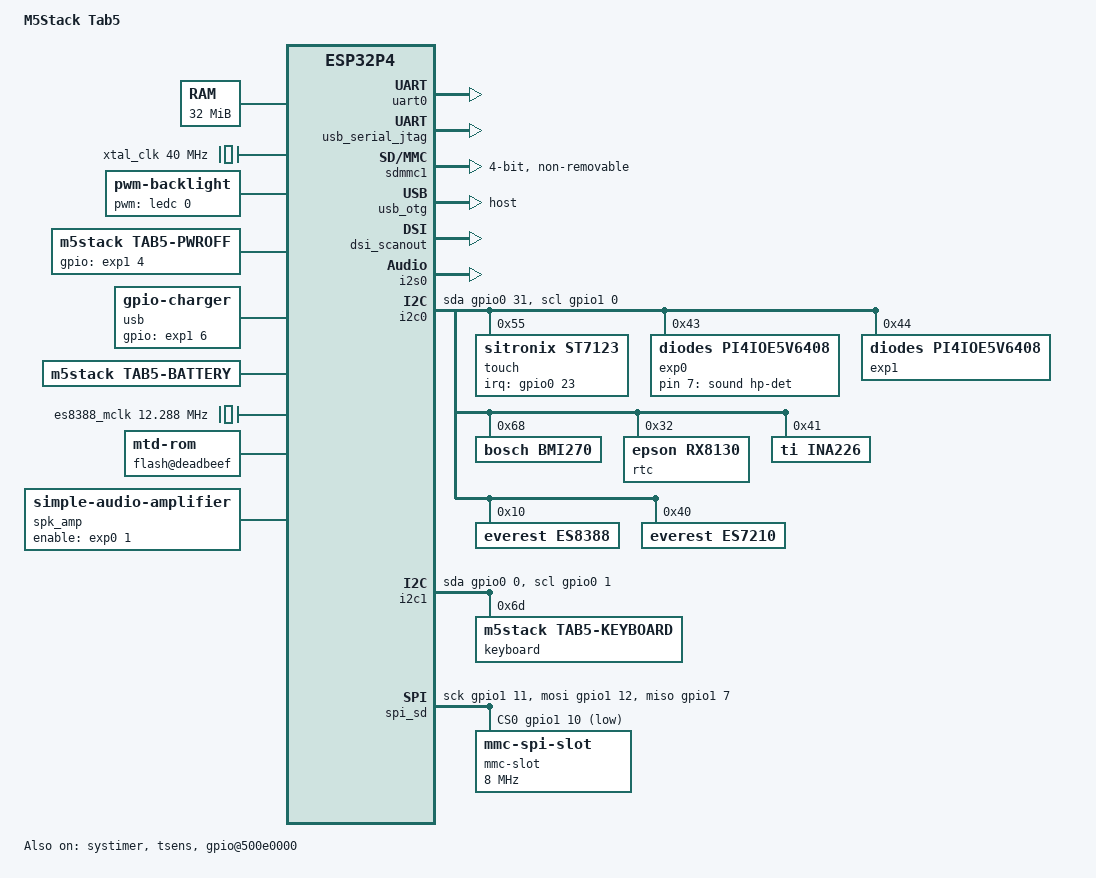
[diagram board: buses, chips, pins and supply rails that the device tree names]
// SPDX-License-Identifier: GPL-2.0-only
/*
 * M5Stack Tab5 — WIP Linux board description (phase-1 port of the Stamp-P4
 * project; see board-contract.json for the measured hardware facts).
 *
 * One HP hart, UART0 fallback, the P4 CLIC/SYSTIMER pair, the read-only
 * flash window populated by the ESP-IDF boot shim, and the SDMMC Slot 1
 * carrying the on-board ESP32-C6 over the GPIO matrix
 * (CLK=12 CMD=13 D0-3={11,10,9,8}; C6 reset = GPIO15; C6 power =
 * IO-expander 0x44 P0, driven by the boot shim).
 *
 * UART0 remains the deterministic fixture fallback (M5-Bus TXD0/RXD0 =
 * GPIO37/38).  The module USB-C USB-Serial/JTAG controller is exposed as
 * ttyGS1 by the board-local ACM driver; it is a device-mode console and
 * never a USB host/VBUS source.
 */
/dts-v1/;

#include <dt-bindings/interrupt-controller/irq.h>
#include <dt-bindings/gpio/gpio.h>

/ {
	#address-cells = <1>;
	#size-cells = <1>;
	model = "M5Stack Tab5";
	compatible = "m5stack,tab5", "espressif,esp32p4";

	cpus {
		#address-cells = <1>;
		#size-cells = <0>;
		timebase-frequency = <16000000>;

		CPU0: cpu@0 {
			device_type = "cpu";
			compatible = "riscv";
			reg = <0>;
			riscv,isa = "rv32imafc";
			mmu-type = "riscv,none";
			status = "okay";

			CPU0_intc: interrupt-controller {
				compatible = "riscv,cpu-intc";
				#interrupt-cells = <1>;
				interrupt-controller;
			};
		};
	};

	memory@48000000 {
		device_type = "memory";
		reg = <0x48000000 0x02000000>;
	};

	xtal_clk: xtal-clock {
		compatible = "fixed-clock";
		#clock-cells = <0>;
		clock-frequency = <40000000>;
		clock-output-names = "xtal";
	};

	aliases {
		serial0 = &uart0;
		serial1 = &usb_serial_jtag;
	};

	chosen {
		/*
		 * Keep early USB-JTAG output during probe, then hand the console
		 * to the board-local ACM driver as ttyGS1, as on the Stamp build.
		 * console=tty0 comes first so ttyGS1 stays /dev/console (the last
		 * console= wins) while kernel messages also reach the panel through
		 * fbcon.  consoleblank=0: the framebuffer has no blank op, so fbcon
		 * would just paint the panel black after 10 minutes and the device
		 * would look dead.  fbcon=font:TER16x32: the 8x16 default makes
		 * 90 x 80 cells on 720x1280, too small to read; the 16x32 font
		 * (45 x 40) must be named because fbcon prefers 8x16 by default.
		 * fbcon=rotate:3 draws the console 90 deg CCW -- the keyboard
		 * dock holds the panel in landscape, so an 80 x 22 cell
		 * console reads upright (the ST712x MADCTL only mirrors; the
		 * 90 deg turn has to be done in fbcon, the panel cannot).
		 */
		bootargs = "earlycon=esp32p4usbjtag,mmio32,0x500d2000 console=tty0 console=ttyGS1,115200n8 loglevel=4 consoleblank=0 fbcon=font:TER16x32 fbcon=rotate:3 root=/dev/mtdblock0 rootfstype=squashfs ro init=/sbin/init maxcpus=1";
	};

	/*
	 * Framebuffer handed over by the boot shim.  "reserved-fb" is not an
	 * upstream status value: the node is inert (not "okay") until the
	 * shim, after a successful DSI bring-up, rewrites the string to
	 * "okay" in place and patches the 0xdfb00000 reg placeholder with
	 * the real PSRAM framebuffer address.  On a display failure the
	 * node stays disabled and Linux boots headless.
	 * espressif,flush-cache marks that the CPU-side console writes need
	 * a dcache writeback before the DW-GDMA reader sees them; consumed
	 * by the optional simplefb patch under linux/tab5/.
	 */
	framebuffer0: framebuffer@dfb0000 {
		compatible = "simple-framebuffer";
		reg = <0x0dfb0000 0x001c2000>;
		width = <720>;
		height = <1280>;
		stride = <1440>;
		format = "r5g6b5";
		espressif,flush-cache;
		/*
		 * Period for the mmap writeback ticker: while a mapping of
		 * /dev/fb0 is alive the whole scan is republished this often,
		 * so apps that never signal a finished frame still reach the
		 * panel.  0 (or absent) disables the ticker.
		 */
		espressif,flush-interval-ms = <50>;
		/*
		 * RISC-V defaults OF devices to DMA-coherent, and the DMA core
		 * skips dma_sync_* for coherent devices -- without this the
		 * flush-cache writeback is a silent no-op and glyphs reach the
		 * panel only as cache lines happen to be evicted.
		 */
		dma-noncoherent;
		status = "reserved-fb";
	};

	/*
	 * LCD backlight through the ME2212 boost on GPIO22, driven by
	 * LEDC channel 0 at 5 kHz.  Levels map 0..1024 onto the duty;
	 * 307 = the shim's ~30% boot default so handoff is invisible.
	 * Console blanking goes through the usual backlight notifier.
	 */
	backlight: backlight {
		compatible = "pwm-backlight";
		pwms = <&ledc 0 200000>;
		brightness-levels = <0 1024>;
		num-interpolated-steps = <1024>;
		default-brightness-level = <307>;
	};

	/*
	 * Safe poweroff: expander 0x44 P4 (PWROFF_PLUSE) is the request
	 * line into the PMS150G power controller on the always-on
	 * VDD_STBY rail.  It must be pulsed and end idle, exactly like
	 * the stock BSP's bsp_generate_poweroff_signal(): the expander's
	 * VDD (SOC_3.3V) stays alive whenever USB-C is attached, so a
	 * line left latched is still driven when the next power-button
	 * press arrives -- the PMS150G then holds BOOT_GPIO35 (its PA5,
	 * wired to the P4 strap pin) low and the SoC lands in ROM
	 * download mode until all power is removed.  Plain gpio-poweroff
	 * cannot be used: it ends its sequence asserted.
	 */
	tab5-pwroff {
		compatible = "m5stack,tab5-pwroff";
		gpios = <&exp1 4 GPIO_ACTIVE_HIGH>;
	};

	/*
	 * Power-supply topology (#31).  The IP2326 charger's BAT_STAT
	 * lands on expander 0x44 P6 (the same line the stock BSP reads
	 * as USB-C detect): it is high while the charger is in or past
	 * constant-current charge, low in trickle charge or with no VIN,
	 * so "online" is an approximation that can blink low during the
	 * trickle phase of a real charge.
	 */
	usb: usb {
		compatible = "gpio-charger";
		charger-type = "usb-sdp";
		gpios = <&exp1 6 GPIO_ACTIVE_HIGH>;
	};

	/*
	 * The 2S pack behind J12: voltage/current come from the INA226
	 * (io-monitor phandle), charge state from the usb supply link.
	 * CAPACITY is a linear pack-voltage estimate, not a gauge.
	 */
	battery {
		compatible = "m5stack,tab5-battery";
		io-monitor = <&ina226>;
		power-supplies = <&usb>;
	};

	soc: soc {
		#address-cells = <1>;
		#size-cells = <1>;
		compatible = "simple-bus";
		ranges;

		clic0: interrupt-controller@20801000 {
			compatible = "espressif,esp32p4-clic";
			reg = <0x20801000 0x3c0>, <0x500d6000 0x200>,
			      <0x500d6800 0x200>;
			interrupt-controller;
			#interrupt-cells = <3>;
		};

		systimer: timer@500e2000 {
			compatible = "espressif,esp32p4-systimer";
			reg = <0x500e2000 0x100>;
			/*
			 * Target0/source53 services CPU0; target1/source54 is the
			 * independent CPU1 clockevent. The CLIC driver maps both
			 * sources into both INTMTX banks, while the timer driver
			 * enables each parent IRQ only on its owning CPU.
			 */
			interrupts-extended = <&clic0 17 53 IRQ_TYPE_LEVEL_HIGH>,
					      <&clic0 23 54 IRQ_TYPE_LEVEL_HIGH>;
			status = "okay";
		};

		/*
		 * ESP32-P4 LP-TSENS.  The bring-up driver maps the companion
		 * LP_PERI, LP_I2C_ANA_MST, PMU, and eFuse windows because this
		 * vendor tree has no clock/reset/nvmem provider for them yet.
		 * The node is inert unless CONFIG_ESP32P4_TSENS=y is selected.
		 */
		tsens: temperature-sensor@5012f000 {
			compatible = "espressif,esp32p4-tsens";
			reg = <0x5012f000 0x2c>,
			      <0x50120000 0x1000>,
			      <0x50124000 0x40>,
			      <0x50115000 0x200>,
			      <0x5012d000 0x200>;
			reg-names = "tsens", "lpperi", "ana-mst", "pmu", "efuse";
			#thermal-sensor-cells = <0>;
			status = "okay";
		};

		uart0: serial@500ca000 {
			compatible = "esp,esp32p4-uart";
			reg = <0x500ca000 0x1000>;
			interrupts-extended = <&clic0 18 31 IRQ_TYPE_LEVEL_HIGH>;
			clocks = <&xtal_clk>;
			status = "okay";
		};

		/*
		 * P4 USB Serial/JTAG register block.  IDF assigns interrupt source
		 * 22 (ETS_USB_SERIAL_JTAG_INTR_SOURCE); CLIC slot 19 is unused by
		 * this board.  The existing esp32_acm driver uses the same EP1
		 * register layout as P4, with the P4 compatible added by patch 0028.
		 */
		usb_serial_jtag: serial@500d2000 {
			compatible = "espressif,esp32p4-usb-serial-jtag";
			reg = <0x500d2000 0x1000>;
			interrupts-extended = <&clic0 19 22 IRQ_TYPE_LEVEL_HIGH>;
			status = "okay";
		};

		/*
		 * GPIO controller (patch 0002-gpio-esp32p4.patch): one parent
		 * owns the shared MMIO page and each child is one bank with
		 * its own gpio_chip.  Bank 0 (hw pins 0..31) is needed for the
		 * touch stack: hw GPIO23 is the ST712x INT line (a GPIO_INT0
		 * child interrupt) and hw GPIO31 is the bit-banged SDA below.
		 * Bank 0 also owns the GPIO_INT0 parent line, so its node
		 * doubles as the pin-interrupt controller.
		 *
		 * Exposing bank 0 does not revive the C6-reset hazard the
		 * phase-1 notes guarded against: the hazard was never the node
		 * itself but a Linux driver asserting GPIO15 (C6 EN/reset).
		 * Nothing in DT claims GPIO15, and esp-hosted-ng still runs
		 * with resetpin = HOST_GPIO_PIN_INVALID (its stamp-p4
		 * defaults patch), so no Linux consumer ever requests that
		 * pin; the reset pulse stays shim-owned.
		 * GPIO_INT0 is ETS source 74 (INTMTX map reg +0x128); CLIC
		 * slot 26 is free on this board.
		 */
		gpio@500e0000 {
			compatible = "espressif,esp32p4-gpio";
			reg = <0x500e0000 0x1000>;
			status = "okay";

			gpio0: bank0 {
				espressif,bank-id = <0>;
				gpio-controller;
				#gpio-cells = <2>;
				interrupt-controller;
				#interrupt-cells = <2>;
				interrupts-extended =
					<&clic0 26 74 IRQ_TYPE_LEVEL_HIGH>;
			};

			/* GPIO bank 1 (hw pins 32..56): SCL lives on hw GPIO32. */
			gpio1: bank1 {
				espressif,bank-id = <1>;
				gpio-controller;
				#gpio-cells = <2>;
			};
		};

		/*
		 * LEDC PWM: the shim routes channel 0 to GPIO22 (LCD
		 * backlight boost EN) and runs timer0 at 5 kHz/10-bit
		 * on XTAL (~30% duty).  This node registers the whole
		 * block; pwm-backlight below keeps that state until
		 * userspace changes it.
		 */
		ledc: pwm@500d3000 {
			compatible = "espressif,esp32p4-ledc";
			reg = <0x500d3000 0x1000>;
			#pwm-cells = <2>;
		};

		/*
		 * Tab5 on-board C6 SDIO.  The P4 controller's Slot 1 uses the
		 * GPIO matrix: CLK=12, CMD=13, DAT0..3={11,10,9,8}.  The boot
		 * shim powers the C6 via IO-expander 0x44 P0, pulses GPIO15,
		 * enables the raw P4 clock/reset and routes these signals before
		 * jumping to Linux; this node describes the already-running bus.
		 * `snps,slot-id` is consumed by the local dw_mmc fix because the
		 * P4 CMD register selects the physical card in bits [20:16].
		 */
		sdmmc_biu_clk: sdmmc-biu-clock {
			compatible = "fixed-clock";
			#clock-cells = <0>;
			clock-frequency = <40000000>;
			clock-output-names = "sdmmc-biu";
		};

		/*
		 * I2S0 MCLK as programmed by the esp32-p4-i2s driver:
		 * PLL_160M / 13 = 12.307692 MHz (~256 * 48 kHz).  The
		 * es8328 driver only models the canonical MCLK rates and
		 * rejects the real value with -EINVAL, so this declares
		 * the nominal 12.288 MHz the codec's divider table
		 * targets (actual rate is +0.16 %, within its tolerance).
		 */
		es8388_mclk: es8388-mclk {
			compatible = "fixed-clock";
			#clock-cells = <0>;
			clock-frequency = <12288000>;
			clock-output-names = "es8388-mclk";
		};

		sdmmc_ciu_clk: sdmmc-ciu-clock {
			compatible = "fixed-clock";
			#clock-cells = <0>;
			clock-frequency = <40000000>;
			clock-output-names = "sdmmc-ciu";
		};

		sdmmc1: mmc@50083000 {
			compatible = "snps,dw-mshc";
			reg = <0x50083000 0x1000>;
			interrupts-extended = <&clic0 22 23 IRQ_TYPE_LEVEL_HIGH>;
			clocks = <&sdmmc_biu_clk>, <&sdmmc_ciu_clk>;
			clock-names = "biu", "ciu";
			bus-width = <4>;
			max-frequency = <40000000>;
			clock-frequency = <40000000>;
			non-removable;
			broken-cd;
			disable-wp;
			cap-sdio-irq;
			dma-noncoherent;
			espressif,force-pio;
			/* The P4 FIFO does not pop on CPU reads (#35); patches
			 * 0087/0088 send multi-word PIO transfers through IDMAC
			 * instead.
			 */
			espressif,fifo-no-pop;
			snps,slot-id = <1>;
			status = "okay";
		};

		/* MWDT0 stage-0 system reset; Linux feeds it after probe.
		 * See the Stamp DTS for the 120s reasoning; keep identical. */
		wdt0: watchdog@500c2000 {
			compatible = "espressif,esp32p4-wdt";
			reg = <0x500c2000 0x100>;
			/* CLIC slot 20 is reserved for the C68 CPU1 IPI source 80. */
			interrupts-extended = <&clic0 21 48 IRQ_TYPE_LEVEL_HIGH>;
			timeout-sec = <120>;
		};

		/*
		 * USB-A port: the USB2.0 HS DWC controller (USB_DWC_HS,
		 * 0x50000000) with its dedicated UTMI PHY pads.  The boot
		 * shim's Tab5 path enables the otg20 sys clock + 48 MHz
		 * PHY ref clock and pulses the shared otg20/PHY reset;
		 * VBUS on the connector is expander 0x44 P3 (USB5V_EN),
		 * which the boot shim leaves driven high.  dr_mode host:
		 * the port is a hardwired Type-A receptacle.  ETS_USB_OTG
		 * interrupt source is 93, routed to free CLIC slot 27.
		 * The 0063 force-PIO only names the FS core
		 * (espressif,esp32p4-otg11); this HS core runs the
		 * auto-detected internal-buffer-DMA host mode.
		 */
		usb_otg: usb@50000000 {
			compatible = "espressif,esp32p4-otg", "snps,dwc2";
			reg = <0x50000000 0x10000>;
			interrupts-extended = <&clic0 27 93 IRQ_TYPE_LEVEL_HIGH>;
			dr_mode = "host";
			hnp-disable;
			srp-disable;
			/*
			 * This core is internal-DMA only (GHWCFG2.ARCH=2):
			 * no slave mode exists to force, so transfers go
			 * through the core's own DMA engine and every
			 * buffer hand-off needs dcache maintenance --
			 * without dma-noncoherent the engine reads stale
			 * setup/data and enumeration dies with -32/-71.
			 */
			dma-noncoherent;
			status = "okay";
		};

		/*
		 * Full-Speed USB OTG (DWC2) is disabled on Tab5: its internal
		 * FSLS PHY is wired to GPIO26/27, which are the board's I2S
		 * audio pins -- there is no connector on this controller.
		 * (The USB-A port sits on the HS controller @0x50000000
		 * above.)
		 */
		usb_otg11: usb@50040000 {
			compatible = "espressif,esp32p4-otg11", "snps,dwc2";
			reg = <0x50040000 0x10000>;
			interrupts-extended = <&clic0 24 103 IRQ_TYPE_LEVEL_HIGH>;
			dr_mode = "peripheral";
			maximum-speed = "full-speed";
			hnp-disable;
			srp-disable;
			g-rx-fifo-size = <64>;
			g-np-tx-fifo-size = <16>;
			g-tx-fifo-size = <32 20 16 16 16 16>;
			status = "disabled";
		};

		/*
		 * DW-GDMA scanout channel handed over by the boot shim.  The
		 * hardware clears the LLI valid bit in memory on every
		 * block end (there is no free-run -- the channel stalls one
		 * frame after the last re-arm), so a kernel driver re-arms
		 * it in IRQ context, the same contract ESP-IDF's trans-done
		 * callback and upstream dw-axi-dmac cyclic mode implement.
		 * DW-GDMA is ETS interrupt source 24, routed to free CLIC
		 * slot 25; the shim detaches the IDF route before the jump
		 * and the kernel's clic_domain_map installs this one.
		 *
		 * espressif,scanout-lli/-chan are patched by the boot shim
		 * (patch_scanout_node in main.c): the 64-byte link-list
		 * item lives in internal SRAM and is found by content, not
		 * by llp0 (which reads 0 while the channel runs).  The
		 * placeholder values stay when the scan-out never came
		 * up; the driver fails closed on them.
		 */
		dsi_scanout: dsi-scanout@50081000 {
			compatible = "espressif,esp32p4-dsi-scanout";
			reg = <0x50081000 0x600>;
			interrupts-extended = <&clic0 25 24 IRQ_TYPE_LEVEL_HIGH>;
			espressif,scanout-lli = <0x5ca11000>;
			espressif,scanout-chan = <0x5ca12000>;
			status = "okay";
		};

		/*
		 * I2S0 audio block.  The P4 I2S unit carries no DMA of
		 * its own: samples move through the AHB GDMA at
		 * 0x50085000 (out-ch0 for playback, in-ch1 for
		 * capture), bound by peri_sel = 3 (I2S0).  The driver
		 * also programs hp_sys_clkrst (apb gate + module
		 * clock + MCLK select), lp_clkrst (MCLK pad), and the
		 * GPIO matrix / IO_MUX for MCLK/BCK/WS/DOUT/DIN, so
		 * those blocks appear as extra reg ranges.
		 *
		 * Pins are the board I2S pair to the ES8388 codec:
		 * MCLK=GPIO30, BCK=GPIO27, WS=GPIO29, DOUT=GPIO26,
		 * DIN=GPIO28.  Speaker-amp enable and headphone-detect
		 * live on expander 0x43 P1/P7 and belong to the
		 * expander-IC driver, not here.
		 *
		 * AHB_PDMA_OUT_CH0 is ETS source 59, AHB_PDMA_IN_CH1 is
		 * 57; CLIC slots 27/28 are free on this board.
		 */
		i2s0: i2s@500c6000 {
			compatible = "espressif,esp32p4-i2s";
			reg = <0x500c6000 0x1000>, <0x50085000 0x1000>,
				<0x500e6000 0x200>, <0x50111000 0x100>,
				<0x500e0000 0x2000>;
			reg-names = "i2s", "dma", "clkrst", "lpclkrst",
				    "gpio";
			interrupts-extended =
				<&clic0 29 59 IRQ_TYPE_LEVEL_HIGH>,
				<&clic0 28 57 IRQ_TYPE_LEVEL_HIGH>;
			interrupt-names = "tx", "rx";
			espressif,peri-sel = <3>;
			espressif,i2s-unit = <0>;
			espressif,mclk-pin = <30>;
			espressif,bck-pin = <27>;
			espressif,ws-pin = <29>;
			espressif,dout-pin = <26>;
			espressif,din-pin = <28>;
			/* Descriptors + buffers must live in internal SRAM:
			 * AHB-GDMA cannot retire a PSRAM ring (#24/B11). */
			memory-region = <&i2s0_dma_sram>;
			#sound-dai-cells = <0>;
			status = "okay";
		};

		/* Patched at runtime by boot-shim/main.c with the flash MMU VA. */
		flash@deadbeef {
			compatible = "mtd-rom";
			reg = <0xdeadbeef 0xcafefade>;
			bank-width = <4>;
		};
	};

	/*
	 * Internal I2C bus, bit-banged: this kernel tree has no P4 I2C
	 * controller driver, so i2c-gpio drives the bus the stock
	 * image puts on SDA=GPIO31 (bank 0) / SCL=GPIO32 (bank 1).
	 * The boot shim releases the IDF I2C master and returns both
	 * pads to plain GPIO before the jump (tab5_i2c_release), so
	 * this driver finds clean inputs to toggle.  Both lines are
	 * declared GPIO_OPEN_DRAIN: the esp32p4 gpiochip has no
	 * hardware open-drain set_config, so gpiolib emulates it by
	 * direction toggling -- exactly the drive pattern i2c-gpio
	 * wants, and the named sda/scl props replace the deprecated
	 * 'gpios' form.  ~100 kHz like the stock touch transactions.
	 *
	 * Other chips live on this bus too (codec, RTC, fuel gauge,
	 * IMU, power monitor).  The two expanders are shim-programmed
	 * rails claimed below: their driver writes nothing at probe,
	 * so the shim state survives, and direction changes belong to
	 * consumers, never to gpio-hogs.  The node sits at root
	 * level: i2c-gpio is a software adapter with no register
	 * window, not an soc unit.
	 */
	i2c0: i2c-gpio {
		compatible = "i2c-gpio";
		#address-cells = <1>;
		#size-cells = <0>;
		sda-gpios = <&gpio0 31 (GPIO_ACTIVE_HIGH|GPIO_OPEN_DRAIN)>;
		scl-gpios = <&gpio1 0 (GPIO_ACTIVE_HIGH|GPIO_OPEN_DRAIN)>;
		i2c-gpio,delay-us = <5>;
		status = "okay";

		/*
		 * ST7121/ST7123-family touch controller (Sitronix).
		 * INT is open-drain active-low on GPIO23 with the
		 * shim leaving a pull-up; the chip pulses it low per
		 * touch report like the stock NEGEDGE setup.
		 * TP_RST is expander 0x43 P5 -- not modelled; the shim
		 * keeps it released and the driver never resets.
		 */
		touch@55 {
			compatible = "sitronix,st7123";
			reg = <0x55>;
			interrupts-extended =
				<&gpio0 23 IRQ_TYPE_EDGE_FALLING>;
			touchscreen-size-x = <720>;
			touchscreen-size-y = <1280>;
			/*
			 * No transform: the controller reports raw
			 * 720x1280 portrait axes that already match the
			 * fb pixel layout.  The earlier swapped-x-y and
			 * inverted-x entries were both measured wrong
			 * (#33): five-corner evdev taps on the
			 * inverted-x build showed a mirrored +x with
			 * scale ~1, i.e. the raw stream was correct.
			 * Spec-confirmed against the M5Stack BSP
			 * (M5Tab5-UserDemo m5stack_tab5.c): x_max=720,
			 * y_max=1280 and swap_xy/mirror_x/mirror_y all
			 * 0 for ST7121/ST7123 and GT911 alike, so no
			 * calibration data is needed either (#33).
			 */
			status = "okay";
		};

		/*
		 * PI4IOE5V6408 8-bit expanders; line names from
		 * board-contract.json.  The shim owns their
		 * reset/pull/direction/output programming (C6 rail,
		 * USB-A 5 V, TP/LCD reset release, charger enables);
		 * the driver registers the chips without writing at
		 * probe, and no gpio-hogs may sit here because a hog
		 * would reprogram direction at bind time -- 0x44 P0
		 * is the C6 rail and dropping it kills Wi-Fi.
		 */
		exp0: gpio@43 {
			compatible = "diodes,pi4ioe5v6408";
			reg = <0x43>;
			gpio-controller;
			#gpio-cells = <2>;
			gpio-line-names =
				"EXT_ANT_EN", "SPK_EN", "EXT5V_EN", "RESERVED_P3",
				"LCD_RST", "TP_RST", "CAM_RST", "HP_DET";
		};

		exp1: gpio@44 {
			compatible = "diodes,pi4ioe5v6408";
			reg = <0x44>;
			gpio-controller;
			#gpio-cells = <2>;
			/* Schematic U7: P1/P2 are unconnected (the earlier
			 * PWR_GOOD/CHG_STA names were guesses); P6 is the
			 * IP2326 BAT_STAT line, not a separate USB-detect. */
			gpio-line-names =
				"WLAN_PWR_EN", "", "", "USB5V_EN",
				"PWROFF_PLUSE", "nCHG_QC_EN", "CHG_STAT", "CHG_EN";
		};

		/*
		 * Bosch BMI270 6-axis IMU; INT1/INT2 routing to P4 is
		 * unconfirmed so no interrupts property -- polled
		 * data only.  Probe uploads the Bosch init blob from
		 * /lib/firmware/bmi270-init-data.fw (shipped in the
		 * Tab5 rootfs overlay).
		 */
		bmi270@68 {
			compatible = "bosch,bmi270";
			reg = <0x68>;
		};

		/*
		 * RX8130CE RTC at 0x32 (the M5 docs' 0x51 is a PCF8563-
		 * family value; the datasheet slave address is 0x32).
		 * Seconds register confirmed counting on-device.  The
		 * supercap-backed clock persists across power-off; no
		 * wakeup interrupt is routed to the P4 in this design.
		 */
		rtc@32 {
			compatible = "epson,rx8130";
			reg = <0x32>;
		};

		/*
		 * INA226 power monitor on the battery rail: Tab5
		 * schematic U31 with R39 = R005 (5 mOhm, 1%).  Bus
		 * voltage = battery voltage; positive current means
		 * discharging, negative means charging.
		 */
		ina226: ina226@41 {
			compatible = "ti,ina226";
			reg = <0x41>;
			shunt-resistor = <5000>;
		};

		/*
		 * Alternate-panel SKU: GT911 touch controller at 0x5d,
		 * paired with the ILI9881C display.  It shares the
		 * ST712x wiring (INT GPIO23, TP_RST expander 0x43 P5)
		 * and is only populated on that SKU, so the node can
		 * stay enabled on this bus next to touch@55: only one
		 * of the two ever answers.  INT polarity matches the
		 * board wiring; confirm on the alternate SKU.
		 */
		gt911: touchscreen@5d {
			compatible = "goodix,gt911";
			reg = <0x5d>;
			interrupts-extended =
				<&gpio0 23 IRQ_TYPE_EDGE_FALLING>;
			touchscreen-size-x = <720>;
			touchscreen-size-y = <1280>;
			/* Same "no transform" rule as touch@55 (#33): the
			 * M5Stack BSP uses x_max=720, y_max=1280 and all-
			 * zero swap/mirror flags for GT911 too. */
			/* Disabled by default (#36): nothing sits at 0x5d
			 * on ST712x boards, and the enabled probe spams
			 * "I2C communication failure" to the console.
			 * The boot shim flips this node to okay when its
			 * panel detection finds the GT911 (ILI9881C SKU). */
			status = "disabled";
		};

		/*
		 * ES8388 stereo codec at 0x10, clocked by I2S0 MCLK.
		 * Upstream's es8328 driver claims es8388 compatibility
		 * (everest,es8388); the parts it does not model are
		 * bring-up work, not a different driver.  Its probe
		 * devm_clk_get(NULL)s the codec clock: describe the MCLK
		 * the i2s driver programs (PLL_160M/13, ~12.3 MHz) as a
		 * fixed-clock so the request resolves.
		 */
		es8388: audio-codec@10 {
			compatible = "everest,es8388";
			reg = <0x10>;
			clocks = <&es8388_mclk>;
			#sound-dai-cells = <0>;
			status = "okay";
		};

		/*
		 * ES7210 4-channel microphone ADC at 0x40 (#24/B12).
		 * The Tab5 wires only MIC1/MIC2 (on-board mics AMIC1/
		 * AMIC2); MIC3 is the headset-mic line (untested, no
		 * plug available).  The local minimal driver runs it
		 * as a plain stereo I2S ADC -- no TDM.  Shares the
		 * ES8388's MCLK.
		 */
		es7210: audio-adc@40 {
			compatible = "everest,es7210";
			reg = <0x40>;
			clocks = <&es8388_mclk>;
			#sound-dai-cells = <0>;
			status = "okay";
		};
	};

	/*
	 * Ext.Port1 keyboard bus: the A164 unit is an STM32F030C8T6
	 * matrix scanner at 0x6d on a dedicated hw GPIO0 (SDA) /
	 * GPIO1 (SCL) pair -- a bus of its own, independent of the
	 * internal bus above, so a wedge there cannot strand it.
	 * Its INT is hw GPIO50 on bank 1, which the esp32p4 gpio
	 * driver does not wire to an irq_chip, so the driver polls
	 * the chip FIFO instead of describing the line here.
	 */
	i2c1: i2c-gpio-1 {
		compatible = "i2c-gpio";
		#address-cells = <1>;
		#size-cells = <0>;
		sda-gpios = <&gpio0 0 (GPIO_ACTIVE_HIGH|GPIO_OPEN_DRAIN)>;
		scl-gpios = <&gpio0 1 (GPIO_ACTIVE_HIGH|GPIO_OPEN_DRAIN)>;
		i2c-gpio,delay-us = <5>;
		status = "okay";

		keyboard@6d {
			compatible = "m5stack,tab5-keyboard";
			reg = <0x6d>;
			/*
			 * How bright the Aa (upper case) LED is when lit,
			 * 0..100; 20 is the keyboard's own default.  The
			 * mode LED next to it is always dark.
			 */
			m5stack,led-brightness = <20>;
			status = "okay";
		};
	};

	/*
	 * microSD slot 0 in SPI mode (#29): the slot is wired to SDMMC
	 * slot 0's dedicated pads CLK43 CMD44 D0..3=39..42, but slot 0
	 * is not reachable through the Linux dw_mmc instance (that
	 * driver models one host per controller and slot 1 carries the
	 * C6).  The pads are bit-banged via spi-esp32p4-fastbb +
	 * mmc_spi: same spi-bitbang framework as spi-gpio, but each
	 * edge is one GPIO_OUT1_W1TS/W1TC store and MISO one GPIO_IN1
	 * load instead of the gpiolib path, so the slot runs an order
	 * of magnitude faster than spi-gpio's <30 KB/s.  Card power is
	 * the on-chip LDO VO4, which the boot shim holds at 3.3 V.
	 * The slot has no card-detect pin.  spi-max-frequency is only
	 * a cap; 8 MHz stays under the card's 25 MHz SPI ceiling with
	 * margin for the MMIO bit loop.
	 */
	spi_sd: spi-esp32p4-fastbb {
		compatible = "espressif,esp32p4-fast-spi-gpio";
		#address-cells = <1>;
		#size-cells = <0>;
		sck-gpios  = <&gpio1 11 GPIO_ACTIVE_HIGH>; /* GPIO43 CLK */
		mosi-gpios = <&gpio1 12 GPIO_ACTIVE_HIGH>; /* GPIO44 CMD */
		miso-gpios = <&gpio1  7 GPIO_ACTIVE_HIGH>; /* GPIO39 D0  */
		cs-gpios   = <&gpio1 10 GPIO_ACTIVE_LOW>;  /* GPIO42 D3  */
		num-chipselects = <1>;
		status = "okay";

		mmc-slot@0 {
			compatible = "mmc-spi-slot";
			reg = <0>;
			spi-max-frequency = <8000000>;
			voltage-ranges = <3300 3300>;
		};
	};

	/*
	 * NS4150B mono speaker amp.  Its enable is expander 0x43 P1
	 * (SPK_EN); wiring a simple-audio-amplifier node through the
	 * card's aux-devs makes DAPM drive the pin: high on playback,
	 * low again when the stream stops (#24/B12).
	 * Schematic: the amp taps the HPOUT_L net, which the OUT2 pair
	 * (LOUT2/ROUT2) drives -- verified on-device by forcing
	 * DACPOWER per pair mid-playback (OUT2 alone keeps the 1 kHz
	 * tone loud; OUT1 alone drops it to silence).
	 */
	spk_amp: audio-amplifier {
		compatible = "simple-audio-amplifier";
		sound-name-prefix = "Amp";
		enable-gpios = <&exp0 1 GPIO_ACTIVE_HIGH>;
	};

	/*
	 * ES8388 + I2S0 link.  simple-audio-card with an aux
	 * amplifier and the headphone jack.  The jack carries the
	 * HPOUT_L/HPOUT_R nets; per the schematic extraction the
	 * OUT2 pair drives HPOUT_L and the OUT1 pair drives
	 * HPOUT_R (the net labels sit against ROUT2/ROUT1
	 * respectively), so the jack route powers all four outputs.
	 * HP_DET is expander 0x43 P7, an input that reads low with
	 * nothing plugged (measured: 0x43 reg0 = 0x00) -- the jack
	 * switch opens on insertion, so insertion pulls it high:
	 * GPIO_ACTIVE_HIGH.
	 */
	sound {
		compatible = "simple-audio-card";
		simple-audio-card,name = "Tab5-ES8388";
		simple-audio-card,format = "i2s";
		simple-audio-card,bitclock-master = <&i2s0>;
		simple-audio-card,frame-master = <&i2s0>;
		simple-audio-card,mclk-fs = <256>;
		simple-audio-card,aux-devs = <&spk_amp>;

		simple-audio-card,widgets =
			"Speaker", "External Speaker",
			"Headphone", "Headphones";
		simple-audio-card,routing =
			"External Speaker", "Amp OUTL",
			"External Speaker", "Amp OUTR",
			"Amp INL", "LOUT2",
			"Amp INR", "ROUT2",
			"Headphones", "LOUT1",
			"Headphones", "ROUT1",
			"Headphones", "LOUT2",
			"Headphones", "ROUT2";
		simple-audio-card,hp-det-gpios = <&exp0 7 GPIO_ACTIVE_HIGH>;

		simple-audio-card,cpu {
			sound-dai = <&i2s0>;
		};
		simple-audio-card,codec {
			sound-dai = <&es8388>;
		};
	};

	/*
	 * ES7210 mic capture on the same I2S0 (RX side).  Second
	 * card so the mics get their own PCM device; I2S0's DAI
	 * already exposes a capture stream backed by the AHB IN
	 * channel and the SRAM pool.
	 */
	sound-mic {
		compatible = "simple-audio-card";
		simple-audio-card,name = "Tab5-ES7210";
		simple-audio-card,format = "i2s";
		simple-audio-card,bitclock-master = <&i2s0>;
		simple-audio-card,frame-master = <&i2s0>;
		simple-audio-card,mclk-fs = <256>;

		simple-audio-card,cpu {
			sound-dai = <&i2s0>;
		};
		simple-audio-card,codec {
			sound-dai = <&es7210>;
		};
	};

	reserved-memory {
		#address-cells = <1>;
		#size-cells = <1>;
		ranges;
		/* Kept small until NOMMU pool sizing is measured on the board. */
		boot_partition_res: boot-partition-res@499c0000 {
			reg = <0x499c0000 0x00040000>;
			no-map;
		};

		/* Linux writes this last after staging a new boot image above.
		 * The boot shim consumes and clears the request before loading Linux. */
		boot_update_request_res: boot-update-request@499bf000 {
			reg = <0x499bf000 0x00001000>;
			no-map;
		};

		/* Second pool region: same layout as the Stamp image. */
		linux_nommu_pool_low: nommu-userspace-pool@495af000 {
			compatible = "linux,nommu-userspace-pool";
			reg = <0x495af000 0x00400000>;
		};

		linux_nommu_pool: nommu-userspace-pool@49a00000 {
			compatible = "linux,nommu-userspace-pool";
			reg = <0x49a00000 0x00600000>;
		};

		/*
		 * MIPI-DSI framebuffer reserved for the boot-shim display
		 * stream.  The shim rewrites this reg together with the
		 * framebuffer0 node's; the placeholder reserves only 4 KiB
		 * at a real PSRAM address so a headless boot (no panel) is
		 * unaffected.
		 */
		display_fb_res: framebuffer@49fdf000 {
			reg = <0x49fdf000 0x00001000>;
			no-map;
		};

		/* I2S0 TX/RX AHB-GDMA descriptor rings and PCM buffers must
		 * sit in internal SRAM — the engine never retires a ring
		 * placed in PSRAM (#24/B11, IDF reference dump).  Upper
		 * 192 KiB of HP SRAM; low SRAM holds shim leftovers and
		 * the dsi-scanout LLI (~0x4ff3b500). */
		i2s0_dma_sram: i2s0-dma@4ff50000 {
			compatible = "shared-dma-pool";
			reg = <0x4ff50000 0x00030000>;
			no-map;
		};
	};
};
